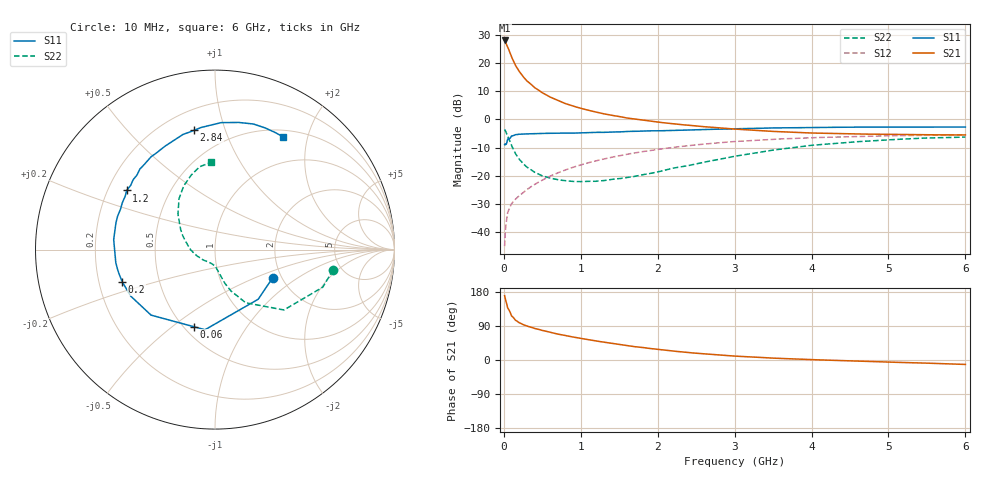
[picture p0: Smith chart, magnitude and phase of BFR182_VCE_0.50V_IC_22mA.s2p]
! Infineon Technologies  Discrete & RF Semiconductors
! BFR182
! VCE = 0.50 V,  IC =  22 mA
! Common Emitter S-Parameters:  Nov 2015
# GHz  S  MA  R  50
!  f  S11  S21  S12  S22
! GHz  MAG  ANG  MAG  ANG  MAG  ANG  MAG  ANG
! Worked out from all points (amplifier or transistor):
!   210 points, 10 MHz to 6 GHz, reference 50 ohm
!   highest |S21| = 28.1 dB at 10 MHz (marker M1)
!   |S21| within 3 dB of that: start of sweep to 60.08 MHz
!   unconditionally stable (mu >= 1): start of sweep to 20.74 MHz; 149.8 MHz to end of sweep
!   at 185 MHz: K = 1.09, MAG = 20.8 dB, |S12| = -27.5 dB
!   at 1.52 GHz: K = 1.37, MAG = 3.2 dB, |S12| = -12.8 dB
!   at 6 GHz: K = 1.11, MAG = -2.1 dB, |S12| = -5.5 dB
!   S11 on the Smith chart (normalised r, x): 10 MHz: 1.80, -0.65; 60 MHz: 0.56, -0.60; 200 MHz: 0.30, -0.15; 1.2 GHz: 0.28, +0.28; 2.84 GHz: 0.32, +0.79; 6 GHz: 0.59, +1.62
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0.01  0.3578 -26.0  25.41 169.7  0.0056 73.5  0.6678 -9.7
0.02  0.3666 -49.0  24.23 160.0  0.0106 74.0  0.6361 -19.2
0.05  0.4499 -97.1  19.46 137.3  0.022 60.0  0.5105 -41.2
0.06  0.4455 -105.1  18 134.4  0.0239 58.1  0.4738 -43.9
0.1  0.5101 -134.3  12.88 116.4  0.0318 52.9  0.3427 -59.9
0.15  0.5366 -151.2  9.189 105.1  0.0382 53.1  0.2481 -68.8
0.2  0.5474 -160.9  7.152 98.3  0.044 55.4  0.1967 -73.6
0.24  0.5518 -166.2  6.046 94.5  0.0488 57.4  0.1708 -75.4
0.3  0.5574 -172.5  4.85 89.4  0.0567 60.1  0.1423 -78.6
0.4  0.5596 179.7  3.691 83.3  0.07 62.7  0.1154 -83.2
0.5  0.5672 174.4  2.989 78.0  0.0834 64.4  0.0994 -86.7
0.6  0.5679 169.6  2.511 73.2  0.0982 64.9  0.091 -90.5
0.7  0.5716 164.9  2.179 68.4  0.1122 64.9  0.0851 -95.7
1.02  0.5791 152.3  1.554 56.4  0.1587 63.0  0.0789 -113.5
1.2  0.592 146.2  1.353 50.2  0.1845 61.2  0.0798 -124.2
1.6  0.6135 133.1  1.063 38.1  0.2409 56.0  0.0932 -147.9
2.02  0.6298 121.1  0.893 27.7  0.2961 49.8  0.1186 -170.0
2.84  0.6745 100.0  0.704 12.6  0.39 36.6  0.2006 155.2
3.1  0.688 94.6  0.663 9.3  0.4131 32.3  0.2333 146.4
4.1  0.7222 78.1  0.571 0.3  0.4789 17.7  0.3565 123.2
5.1  0.7329 66.6  0.542 -6.1  0.5157 5.4  0.4423 106.1
6  0.7342 58.7  0.531 -11.7  0.5322 -4.9  0.4871 92.5
